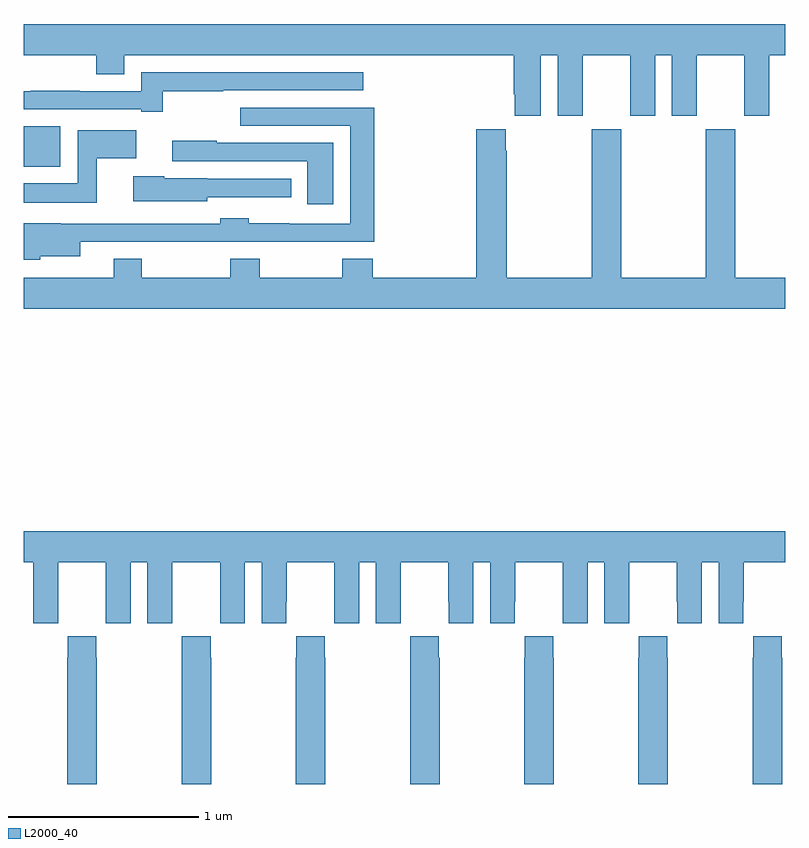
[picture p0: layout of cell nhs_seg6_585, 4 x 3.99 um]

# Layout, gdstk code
import gdstk
lib = gdstk.Library(unit=1e-6, precision=1e-09)
def R(c, l, rs):  # rectangles x0, y0, x1, y1
    for r in rs: c.add(gdstk.rectangle(r[:2], r[2:], *l))
def P(c, l, *ps):  # polygons
    for p in ps: c.add(gdstk.Polygon(p, *l))
L2000_40 = (2000, 40)

nhs_seg6_585 = lib.new_cell('nhs_seg6_585')
R(nhs_seg6_585, L2000_40, [(147,954.743,147.193,954.955)])
P(nhs_seg6_585, L2000_40, [(149.716,955.328),(149.804,955.328),(149.804,955.011),(149.935,955.011),(149.935,955.328),(150.185,955.328),(150.185,955.011),(150.316,955.011),(150.316,955.328),(150.404,955.328),(150.404,955.011),(150.535,955.011),(150.535,955.328),(150.785,955.328),(150.785,955.011),(150.916,955.011),(150.916,955.328),(151,955.328),(151,955.492),(147,955.492),(147,955.328),(147.382,955.328),(147.382,955.229),(147.529,955.229),(147.529,955.328),(149.573,955.328),(149.573,955.123),(149.579,955.123),(149.579,955.011),(149.716,955.011)],
  [(147.731,955.138),(148.049,955.138),(148.049,955.143),(148.783,955.143),(148.783,955.239),(147.617,955.239),(147.617,955.14),(147.293,955.14),(147.293,955.142),(147.037,955.142),(147.037,955.14),(147,955.14),(147,955.044),(147.617,955.044),(147.617,955.032),(147.731,955.032)],
  [(147.087,954.272),(147.298,954.272),(147.298,954.348),(147.709,954.348),(147.709,954.347),(148.841,954.347),(148.841,955.053),(148.137,955.053),(148.137,954.957),(148.715,954.957),(148.715,954.444),(148.394,954.444),(148.394,954.445),(148.182,954.445),(148.182,954.472),(148.032,954.472),(148.032,954.444),(147.194,954.444),(147.194,954.445),(147,954.445),(147,954.254),(147.087,954.254)],
  [(151,954.16),(150.738,954.16),(150.738,954.94),(150.583,954.94),(150.583,954.16),(150.138,954.16),(150.138,954.94),(149.983,954.94),(149.983,954.16),(149.538,954.16),(149.538,954.827),(149.533,954.827),(149.533,954.94),(149.378,954.94),(149.378,954.16),(148.832,954.16),(148.832,954.259),(148.672,954.259),(148.672,954.16),(148.239,954.16),(148.239,954.259),(148.084,954.259),(148.084,954.16),(147.621,954.16),(147.621,954.259),(147.473,954.259),(147.473,954.16),(147,954.16),(147,953.996),(151,953.996)],
  [(147.383,954.788),(147.592,954.788),(147.592,954.934),(147.285,954.934),(147.285,954.655),(147,954.655),(147,954.554),(147.383,954.554)],
  [(148.627,954.867),(148.015,954.867),(148.015,954.88),(147.779,954.88),(147.779,954.771),(148.49,954.771),(148.49,954.546),(148.627,954.546)],
  [(147.963,954.582),(148.405,954.582),(148.405,954.678),(147.963,954.678),(147.963,954.682),(147.738,954.682),(147.738,954.693),(147.576,954.693),(147.576,954.56),(147.963,954.56)],
  [(147,952.664),(147.05,952.664),(147.05,952.344),(147.18,952.344),(147.18,952.456),(147.181,952.456),(147.181,952.664),(147.431,952.664),(147.431,952.456),(147.432,952.456),(147.432,952.344),(147.562,952.344),(147.562,952.664),(147.65,952.664),(147.65,952.344),(147.78,952.344),(147.78,952.456),(147.781,952.456),(147.781,952.664),(148.031,952.664),(148.031,952.456),(148.032,952.456),(148.032,952.344),(148.162,952.344),(148.162,952.664),(148.25,952.664),(148.25,952.344),(148.38,952.344),(148.38,952.456),(148.381,952.456),(148.381,952.664),(148.631,952.664),(148.631,952.456),(148.632,952.456),(148.632,952.344),(148.762,952.344),(148.762,952.664),(148.85,952.664),(148.85,952.344),(148.98,952.344),(148.98,952.456),(148.981,952.456),(148.981,952.664),(149.231,952.664),(149.231,952.456),(149.232,952.456),(149.232,952.344),(149.362,952.344),(149.362,952.664),(149.45,952.664),(149.45,952.344),(149.58,952.344),(149.58,952.456),(149.581,952.456),(149.581,952.664),(149.831,952.664),(149.831,952.456),(149.832,952.456),(149.832,952.344),(149.962,952.344),(149.962,952.664),(150.05,952.664),(150.05,952.344),(150.18,952.344),(150.18,952.456),(150.181,952.456),(150.181,952.664),(150.431,952.664),(150.431,952.456),(150.432,952.456),(150.432,952.344),(150.562,952.344),(150.562,952.664),(150.65,952.664),(150.65,952.344),(150.78,952.344),(150.78,952.456),(150.781,952.456),(150.781,952.664),(151,952.664),(151,952.828),(147,952.828)],
  [(150.984,952.163),(150.981,952.163),(150.981,952.276),(150.831,952.276),(150.831,952.163),(150.829,952.163),(150.829,951.5),(150.984,951.5)],
  [(149.184,952.163),(149.181,952.163),(149.181,952.276),(149.031,952.276),(149.031,952.163),(149.029,952.163),(149.029,951.5),(149.184,951.5)],
  [(147.384,952.163),(147.381,952.163),(147.381,952.276),(147.231,952.276),(147.231,952.163),(147.229,952.163),(147.229,951.5),(147.384,951.5)],
  [(147.984,952.163),(147.981,952.163),(147.981,952.276),(147.831,952.276),(147.831,952.163),(147.829,952.163),(147.829,951.5),(147.984,951.5)],
  [(148.584,952.163),(148.581,952.163),(148.581,952.276),(148.431,952.276),(148.431,952.163),(148.429,952.163),(148.429,951.5),(148.584,951.5)],
  [(149.784,952.163),(149.781,952.163),(149.781,952.276),(149.631,952.276),(149.631,952.163),(149.629,952.163),(149.629,951.5),(149.784,951.5)],
  [(150.384,952.163),(150.381,952.163),(150.381,952.276),(150.231,952.276),(150.231,952.163),(150.229,952.163),(150.229,951.5),(150.384,951.5)])

lib.write_gds('nhs_seg6_585.gds')
